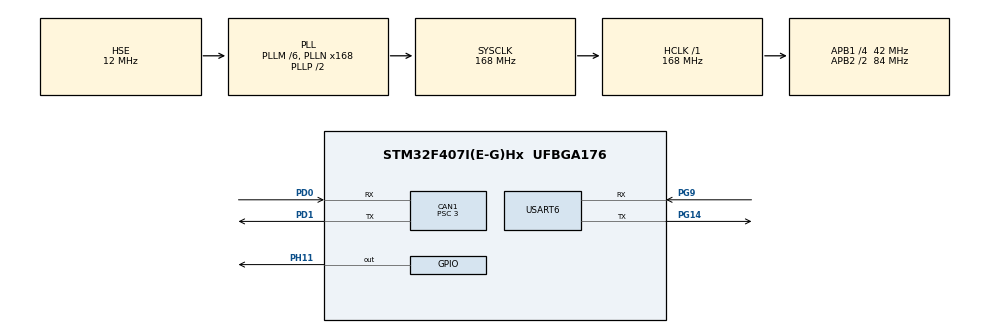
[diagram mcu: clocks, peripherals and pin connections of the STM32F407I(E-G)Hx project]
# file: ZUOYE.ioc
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CAN1.BS1=CAN_BS1_12TQ
CAN1.CalculateBaudRate=1000000
CAN1.CalculateTimeBit=1000
CAN1.CalculateTimeQuantum=71.42857142857143
CAN1.Prescaler=3
Dma.Request0=USART6_RX
Dma.Request1=USART6_TX
Dma.USART6_RX.0.Direction=DMA_PERIPH_TO_MEMORY
Dma.USART6_RX.0.FIFOMode=DMA_FIFOMODE_DISABLE
Dma.USART6_RX.0.Instance=DMA2_Stream1
Dma.USART6_RX.0.MemDataAlignment=DMA_MDATAALIGN_BYTE
Dma.USART6_RX.0.MemInc=DMA_MINC_ENABLE
Dma.USART6_RX.0.Mode=DMA_NORMAL
Dma.USART6_RX.0.PeriphDataAlignment=DMA_PDATAALIGN_BYTE
Dma.USART6_RX.0.PeriphInc=DMA_PINC_DISABLE
Dma.USART6_RX.0.Priority=DMA_PRIORITY_LOW
Dma.USART6_TX.1.Direction=DMA_MEMORY_TO_PERIPH
Dma.USART6_TX.1.FIFOMode=DMA_FIFOMODE_DISABLE
Dma.USART6_TX.1.Instance=DMA2_Stream6
Dma.USART6_TX.1.MemDataAlignment=DMA_MDATAALIGN_BYTE
Dma.USART6_TX.1.MemInc=DMA_MINC_ENABLE
Dma.USART6_TX.1.Mode=DMA_NORMAL
Dma.USART6_TX.1.PeriphDataAlignment=DMA_PDATAALIGN_BYTE
Dma.USART6_TX.1.PeriphInc=DMA_PINC_DISABLE
Dma.USART6_TX.1.Priority=DMA_PRIORITY_LOW
Mcu.Family=STM32F4
Mcu.Name=STM32F407I(E-G)Hx
Mcu.Package=UFBGA176
NVIC.CAN1_RX0_IRQn=true\:0\:0\:false\:false\:true\:true\:true\:true
NVIC.CAN1_RX1_IRQn=true\:0\:0\:false\:false\:true\:true\:true\:true
NVIC.CAN1_TX_IRQn=true\:0\:0\:false\:false\:true\:true\:true\:true
NVIC.DMA2_Stream1_IRQn=true\:0\:0\:false\:false\:true\:false\:true\:true
NVIC.DMA2_Stream6_IRQn=true\:0\:0\:false\:false\:true\:false\:true\:true
NVIC.PriorityGroup=NVIC_PRIORITYGROUP_4
NVIC.USART6_IRQn=true\:0\:0\:false\:false\:true\:true\:true\:true
PA13.Mode=Serial_Wire
PA13.Signal=SYS_JTMS-SWDIO
PA14.Mode=Serial_Wire
PA14.Signal=SYS_JTCK-SWCLK
PD0.Mode=CAN_Activate
PD0.Signal=CAN1_RX
PD1.Mode=CAN_Activate
PD1.Signal=CAN1_TX
PG14.Mode=Asynchronous
PG14.Signal=USART6_TX
PG9.Mode=Asynchronous
PG9.Signal=USART6_RX
PH0-OSC_IN.Mode=HSE-External-Oscillator
PH0-OSC_IN.Signal=RCC_OSC_IN
PH1-OSC_OUT.Mode=HSE-External-Oscillator
PH1-OSC_OUT.Signal=RCC_OSC_OUT
PH11.Signal=GPIO_Output
ProjectManager.HeapSize=0x200
ProjectManager.StackSize=0x400
ProjectManager.TargetToolchain=CMake
RCC.48MHZClocksFreq_Value=84000000
RCC.AHBFreq_Value=168000000
RCC.APB1CLKDivider=RCC_HCLK_DIV4
RCC.APB1Freq_Value=42000000
RCC.APB1TimFreq_Value=84000000
RCC.APB2CLKDivider=RCC_HCLK_DIV2
RCC.APB2Freq_Value=84000000
RCC.APB2TimFreq_Value=168000000
RCC.CortexFreq_Value=168000000
RCC.HCLKFreq_Value=168000000
RCC.HSE_VALUE=12000000
RCC.HSI_VALUE=16000000
RCC.LSE_VALUE=32768
RCC.PLLM=6
RCC.PLLN=168
RCC.PLLSourceVirtual=RCC_PLLSOURCE_HSE
RCC.SYSCLKFreq_VALUE=168000000
RCC.SYSCLKSource=RCC_SYSCLKSOURCE_PLLCLK
RCC.VCOOutputFreq_Value=336000000
USART6.VirtualMode=VM_ASYNC
board=custom

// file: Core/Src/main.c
/* USER CODE BEGIN Header */
/**
  ******************************************************************************
  * @file           : main.c
  * @brief          : Main program body
  ******************************************************************************
  * @attention
  *
  * Copyright (c) 2025 STMicroelectronics.
  * All rights reserved.
  *
  * This software is licensed under terms that can be found in the LICENSE file
  * in the root directory of this software component.
  * If no LICENSE file comes with this software, it is provided AS-IS.
  *
  ******************************************************************************
  */
/* USER CODE END Header */
#include "main.h"
#include "can.h"
#include "dma.h"
#include "usart.h"
#include "gpio.h"

/* USER CODE BEGIN Includes */
#include "../../User/M2006_sp.h"
#include "../../User/PID.h"
#include "../../User/VOFA.h"
/* USER CODE END Includes */

/* USER CODE BEGIN PV */
// 电机转速控制对象
M2006_SpeedControl_t motor1_speed_control;

// 测试用变量
static uint32_t last_send_time = 0;
/* USER CODE END PV */

void SystemClock_Config(void);
/* USER CODE BEGIN PFP */
void HAL_CAN_RxFifo0MsgPendingCallback(CAN_HandleTypeDef *hcan);
/* USER CODE END PFP */

int main(void)
{

  /* MCU Configuration--------------------------------------------------------*/

  /* Reset of all peripherals, Initializes the Flash interface and the Systick. */
  HAL_Init();

  /* Configure the system clock */
  SystemClock_Config();

  /* Initialize all configured peripherals */
  MX_GPIO_Init();
  MX_DMA_Init();
  MX_CAN1_Init();
  MX_USART6_UART_Init();
  /* USER CODE BEGIN 2 */
  // 初始化M2006电机
  M2006_Init();

  // 初始化VOFA+通信
  VOFA_Init();

  // 初始化电机1的转速PID控制
  // PID参数需要根据实际调试调整
  float kp = 0.5f,ki = 0.1f,kd = 0.05f;
  M2006_SpeedControlInit(&motor1_speed_control, 1, kp, ki, kd);

  // 等待系统稳定
  HAL_Delay(500);

  // 发送VOFA+开始标记
  VOFA_Begin();

  // 使能转速控制
  M2006_EnableSpeedControl(&motor1_speed_control, 1);
  /* USER CODE END 2 */

  /* Infinite loop */
  /* USER CODE BEGIN WHILE */
  while (1)
  {
    uint32_t current_time = HAL_GetTick();  // 修复：获取系统时间

    // 数据发送到VOFA+ - 每25ms执行一次
    if (current_time - last_send_time >= 25) {
        last_send_time = current_time;
        // 获取电机数据
        M2006_Motor_t motor_data;
        M2006_SpeedControlUpdate(&motor1_speed_control);
        M2006_GetMotorData(1, &motor_data);
        // 发送数据到VOFA+
        // 格式：目标转速,当前转速,PID输出,电机电流，PID参数
        VOFA_SendData(
            M2006_GetTargetSpeed(&motor1_speed_control),
            M2006_GetCurrentSpeed(&motor1_speed_control),
            motor1_speed_control.speed_pid.output,
            (float)motor_data.current,
            motor1_speed_control.speed_pid.kp,
            motor1_speed_control.speed_pid.ki,
            motor1_speed_control.speed_pid.kd
        );
    }

    /* USER CODE END WHILE */

  }
}

void SystemClock_Config(void)
{
  RCC_OscInitTypeDef RCC_OscInitStruct = {0};
  RCC_ClkInitTypeDef RCC_ClkInitStruct = {0};

  /** Configure the main internal regulator output voltage
  */
  __HAL_RCC_PWR_CLK_ENABLE();
  __HAL_PWR_VOLTAGESCALING_CONFIG(PWR_REGULATOR_VOLTAGE_SCALE1);

  /** Initializes the RCC Oscillators according to the specified parameters
  * in the RCC_OscInitTypeDef structure.
  */
  RCC_OscInitStruct.OscillatorType = RCC_OSCILLATORTYPE_HSE;
  RCC_OscInitStruct.HSEState = RCC_HSE_ON;
  RCC_OscInitStruct.PLL.PLLState = RCC_PLL_ON;
  RCC_OscInitStruct.PLL.PLLSource = RCC_PLLSOURCE_HSE;
  RCC_OscInitStruct.PLL.PLLM = 6;
  RCC_OscInitStruct.PLL.PLLN = 168;
  RCC_OscInitStruct.PLL.PLLP = RCC_PLLP_DIV2;
  RCC_OscInitStruct.PLL.PLLQ = 4;
  if (HAL_RCC_OscConfig(&RCC_OscInitStruct) != HAL_OK)
  {
    Error_Handler();
  }

  /** Initializes the CPU, AHB and APB buses clocks
  */
  RCC_ClkInitStruct.ClockType = RCC_CLOCKTYPE_HCLK|RCC_CLOCKTYPE_SYSCLK
                              |RCC_CLOCKTYPE_PCLK1|RCC_CLOCKTYPE_PCLK2;
  RCC_ClkInitStruct.SYSCLKSource = RCC_SYSCLKSOURCE_PLLCLK;
  RCC_ClkInitStruct.AHBCLKDivider = RCC_SYSCLK_DIV1;
  RCC_ClkInitStruct.APB1CLKDivider = RCC_HCLK_DIV4;
  RCC_ClkInitStruct.APB2CLKDivider = RCC_HCLK_DIV2;

  if (HAL_RCC_ClockConfig(&RCC_ClkInitStruct, FLASH_LATENCY_5) != HAL_OK)
  {
    Error_Handler();
  }
}

/* USER CODE BEGIN 4 */
/**
 * @brief CAN接收回调函数
 * @param hcan CAN句柄
 */
void HAL_CAN_RxFifo0MsgPendingCallback(CAN_HandleTypeDef *hcan) {
  // 处理接收到的电机反馈数据 - 修复：使用正确的FIFO参数
  M2006_ProcessFeedback(hcan, CAN_RX_FIFO0);
}
/* USER CODE END 4 */

void Error_Handler(void)
{
  __disable_irq();
  while (1)
  {
  }
}
